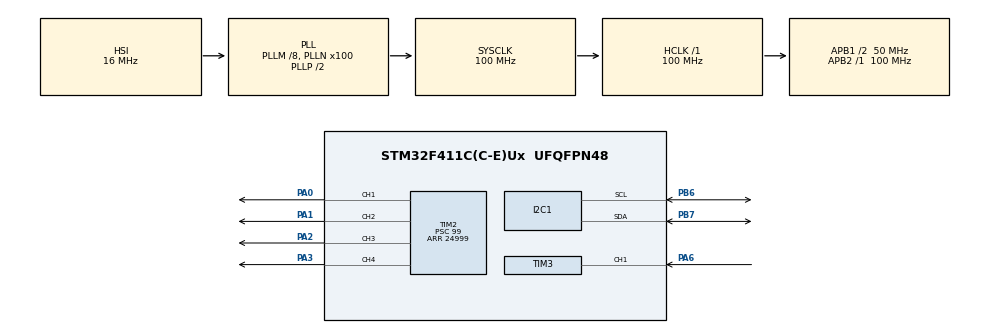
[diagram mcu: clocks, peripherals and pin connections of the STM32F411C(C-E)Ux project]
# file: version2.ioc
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Dma.I2C1_RX.0.Direction=DMA_PERIPH_TO_MEMORY
Dma.I2C1_RX.0.FIFOMode=DMA_FIFOMODE_DISABLE
Dma.I2C1_RX.0.Instance=DMA1_Stream0
Dma.I2C1_RX.0.MemDataAlignment=DMA_MDATAALIGN_BYTE
Dma.I2C1_RX.0.MemInc=DMA_MINC_ENABLE
Dma.I2C1_RX.0.Mode=DMA_NORMAL
Dma.I2C1_RX.0.PeriphDataAlignment=DMA_PDATAALIGN_BYTE
Dma.I2C1_RX.0.PeriphInc=DMA_PINC_DISABLE
Dma.I2C1_RX.0.Priority=DMA_PRIORITY_LOW
Dma.Request0=I2C1_RX
FREERTOS.Tasks01=pidTask,2,512,StartPIDTask,Default,NULL,Dynamic,NULL,NULL;rcTask,-3,128,StartRCTask,Default,NULL,Dynamic,NULL,NULL
FREERTOS.configENABLE_FPU=0
FREERTOS.configUSE_NEWLIB_REENTRANT=1
I2C1.I2C_Mode=I2C_Fast
Mcu.Family=STM32F4
Mcu.Name=STM32F411C(C-E)Ux
Mcu.Package=UFQFPN48
NVIC.DMA1_Stream0_IRQn=true\:5\:0\:false\:false\:true\:true\:false\:true\:true
NVIC.I2C1_ER_IRQn=true\:5\:0\:false\:false\:true\:true\:true\:true\:true
NVIC.I2C1_EV_IRQn=true\:5\:0\:false\:false\:true\:true\:true\:true\:true
NVIC.PriorityGroup=NVIC_PRIORITYGROUP_4
NVIC.TIM3_IRQn=true\:5\:0\:false\:false\:true\:true\:true\:true\:true
NVIC.TIM4_IRQn=true\:5\:0\:false\:false\:true\:true\:true\:true\:true
NVIC.TIM5_IRQn=true\:15\:0\:false\:false\:true\:false\:false\:true\:true
NVIC.TimeBase=TIM5_IRQn
NVIC.TimeBaseIP=TIM5
PA0-WKUP.Signal=S_TIM2_CH1_ETR
PA1.Signal=S_TIM2_CH2
PA13.Mode=Serial_Wire
PA13.Signal=SYS_JTMS-SWDIO
PA14.Mode=Serial_Wire
PA14.Signal=SYS_JTCK-SWCLK
PA2.Signal=S_TIM2_CH3
PA3.Signal=S_TIM2_CH4
PA6.Signal=S_TIM3_CH1
PB6.Mode=I2C
PB6.Signal=I2C1_SCL
PB7.Mode=I2C
PB7.Signal=I2C1_SDA
PH0\ -\ OSC_IN.Mode=HSE-External-Oscillator
PH0\ -\ OSC_IN.Signal=RCC_OSC_IN
PH1\ -\ OSC_OUT.Mode=HSE-External-Oscillator
PH1\ -\ OSC_OUT.Signal=RCC_OSC_OUT
ProjectManager.HeapSize=0x200
ProjectManager.StackSize=0x400
ProjectManager.TargetToolchain=STM32CubeIDE
RCC.48MHZClocksFreq_Value=50000000
RCC.AHBFreq_Value=100000000
RCC.APB1CLKDivider=RCC_HCLK_DIV2
RCC.APB1Freq_Value=50000000
RCC.APB1TimFreq_Value=100000000
RCC.APB2Freq_Value=100000000
RCC.APB2TimFreq_Value=100000000
RCC.CortexFreq_Value=100000000
RCC.HCLKFreq_Value=100000000
RCC.HSE_VALUE=25000000
RCC.HSI_VALUE=16000000
RCC.LSE_VALUE=32768
RCC.PLLM=8
RCC.PLLN=100
RCC.SYSCLKFreq_VALUE=100000000
RCC.SYSCLKSource=RCC_SYSCLKSOURCE_PLLCLK
RCC.VCOOutputFreq_Value=200000000
SH.S_TIM2_CH1_ETR.0=TIM2_CH1,PWM Generation1 CH1
SH.S_TIM2_CH2.0=TIM2_CH2,PWM Generation2 CH2
SH.S_TIM2_CH3.0=TIM2_CH3,PWM Generation3 CH3
SH.S_TIM2_CH4.0=TIM2_CH4,PWM Generation4 CH4
SH.S_TIM3_CH1.0=TIM3_CH1,Input_Capture1_from_TI1
TIM2.Channel-PWM\ Generation1\ CH1=TIM_CHANNEL_1
TIM2.Channel-PWM\ Generation2\ CH2=TIM_CHANNEL_2
TIM2.Channel-PWM\ Generation3\ CH3=TIM_CHANNEL_3
TIM2.Channel-PWM\ Generation4\ CH4=TIM_CHANNEL_4
TIM2.Period=24999
TIM2.Prescaler=99
TIM2.Pulse-PWM\ Generation1\ CH1=1000
TIM2.Pulse-PWM\ Generation2\ CH2=1000
TIM2.Pulse-PWM\ Generation3\ CH3=1000
TIM2.Pulse-PWM\ Generation4\ CH4=1000
TIM3.Channel-Input_Capture1_from_TI1=TIM_CHANNEL_1
TIM3.Prescaler=99
TIM4.Period=999
TIM4.Prescaler=99
VP_FREERTOS_VS_CMSIS_V1.Mode=CMSIS_V1
VP_SYS_VS_tim5.Mode=TIM5
VP_TIM4_VS_ClockSourceINT.Mode=Internal
board=custom

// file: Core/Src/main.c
/* USER CODE BEGIN Header */
/**
 ******************************************************************************
 * @file           : main.c
 * @brief          : Main program body
 ******************************************************************************
 * @attention
 *
 * Copyright (c) 2026 STMicroelectronics.
 * All rights reserved.
 *
 * This software is licensed under terms that can be found in the LICENSE file
 * in the root directory of this software component.
 * If no LICENSE file comes with this software, it is provided AS-IS.
 *
 ******************************************************************************
 */
/* USER CODE END Header */
#include "main.h"
#include "cmsis_os.h"

/* USER CODE BEGIN Includes */
#include "FreeRTOS.h"
#include "fc_motor.h"
#include "fc_mpu6050.h"
#include "fc_pid.h"
#include "fc_rc.h"
#include "task.h"

/* USER CODE END Includes */

I2C_HandleTypeDef hi2c1;
DMA_HandleTypeDef hdma_i2c1_rx;

TIM_HandleTypeDef htim2;
TIM_HandleTypeDef htim3;
TIM_HandleTypeDef htim4;

osThreadId pidTaskHandle;
osThreadId rcTaskHandle;
/* USER CODE BEGIN PV */
volatile uint32_t dbg_tim4_irq_cnt = 0;
volatile uint32_t dbg_pid_task_cnt = 0;
volatile uint32_t dbg_rc_task_cnt = 0;
/* USER CODE END PV */

void SystemClock_Config(void);
static void MX_GPIO_Init(void);
static void MX_DMA_Init(void);
static void MX_I2C1_Init(void);
static void MX_TIM2_Init(void);
static void MX_TIM3_Init(void);
static void MX_TIM4_Init(void);
void StartPIDTask(void const *argument);
void StartRCTask(void const *argument);

int main(void) {

  /* MCU Configuration--------------------------------------------------------*/

  /* Reset of all peripherals, Initializes the Flash interface and the Systick.
   */
  HAL_Init();

  /* Configure the system clock */
  SystemClock_Config();

  /* Initialize all configured peripherals */
  MX_GPIO_Init();
  MX_DMA_Init();
  MX_I2C1_Init();
  MX_TIM2_Init();
  MX_TIM3_Init();
  MX_TIM4_Init();
  /* USER CODE BEGIN 2 */

  FC_Motor_Init();
  FC_MPU6050_Init();
  FC_RC_Init();

  // THÊM DÒNG NÀY — start TIM3 để PPM interrupt hoạt động
  HAL_TIM_IC_Start_IT(&htim3, TIM_CHANNEL_1);

  // Chờ thêm 1 giây để PPM ổn định trước khi đo
  HAL_Delay(1000);

  // ==========================================
  // ESC CALIBRATION MODE
  // Để calib: Bật TX, đẩy ga lên MAX, sau đó cấp nguồn cho mạch (hoặc nạp code
  // xong). Đợi ESC kêu bíp bíp xác nhận ga MAX, sau đó kéo ga xuống MIN. ESC sẽ
  // kêu báo hiệu calib thành công.
  // ==========================================
  if (rc_channels[2] > 1900) {
    // Nháy LED nhanh báo hiệu vào chế độ Calib ESC
    for (int i = 0; i < 10; i++) {
      HAL_GPIO_TogglePin(GPIOC, GPIO_PIN_13);
      HAL_Delay(100);
    }

    // Gửi xung MAX 2000us cho tất cả ESC TRƯỚC KHI BẬT PWM
    __HAL_TIM_SET_COMPARE(&htim2, TIM_CHANNEL_1, FC_MOTOR_CALIB_MAX_US);
    __HAL_TIM_SET_COMPARE(&htim2, TIM_CHANNEL_2, FC_MOTOR_CALIB_MAX_US);
    __HAL_TIM_SET_COMPARE(&htim2, TIM_CHANNEL_3, FC_MOTOR_CALIB_MAX_US);
    __HAL_TIM_SET_COMPARE(&htim2, TIM_CHANNEL_4, FC_MOTOR_CALIB_MAX_US);

    // Bắt đầu xuất xung PWM. Lúc này ESC sẽ nhận được 2000us ngay lập tức!
    FC_Motor_StartPWM();

    // Chờ người dùng kéo ga xuống thấp nhất (< 1100)
    while (rc_channels[2] > 1100) {
      HAL_Delay(50);
      HAL_GPIO_TogglePin(GPIOC, GPIO_PIN_13);
    }

    // Gửi xung MIN 1000us cho tất cả ESC
    __HAL_TIM_SET_COMPARE(&htim2, TIM_CHANNEL_1, FC_MOTOR_MIN_US);
    __HAL_TIM_SET_COMPARE(&htim2, TIM_CHANNEL_2, FC_MOTOR_MIN_US);
    __HAL_TIM_SET_COMPARE(&htim2, TIM_CHANNEL_3, FC_MOTOR_MIN_US);
    __HAL_TIM_SET_COMPARE(&htim2, TIM_CHANNEL_4, FC_MOTOR_MIN_US);

    // Chờ 3 giây để ESC nhận xung MIN và lưu cài đặt
    HAL_GPIO_WritePin(GPIOC, GPIO_PIN_13, 0); // Bật LED sáng tĩnh
    HAL_Delay(3000);
  } else {
    // Nếu không vào chế độ Calib, gửi xung 1000us và chạy PWM bình thường
    __HAL_TIM_SET_COMPARE(&htim2, TIM_CHANNEL_1, FC_MOTOR_MIN_US);
    __HAL_TIM_SET_COMPARE(&htim2, TIM_CHANNEL_2, FC_MOTOR_MIN_US);
    __HAL_TIM_SET_COMPARE(&htim2, TIM_CHANNEL_3, FC_MOTOR_MIN_US);
    __HAL_TIM_SET_COMPARE(&htim2, TIM_CHANNEL_4, FC_MOTOR_MIN_US);
    FC_Motor_StartPWM();
  }
  // ==========================================

  // LED nhấp nháy báo hiệu đang calibrate
  // Tay cầm phải để GIỮA lúc này
  HAL_GPIO_WritePin(GPIOC, GPIO_PIN_13, 0);
  HAL_Delay(300);
  HAL_GPIO_WritePin(GPIOC, GPIO_PIN_13, 1);
  HAL_Delay(300);
  HAL_GPIO_WritePin(GPIOC, GPIO_PIN_13, 0);
  HAL_Delay(300);
  HAL_GPIO_WritePin(GPIOC, GPIO_PIN_13, 1);
  HAL_Delay(300);
  HAL_GPIO_WritePin(GPIOC, GPIO_PIN_13, 0);
  HAL_Delay(300);

  FC_RC_CalibrateCenter(); // 1 giây đo center

  HAL_GPIO_WritePin(GPIOC, GPIO_PIN_13, 1); // LED tắt = xong

  FC_PID_Init();

  /* USER CODE END 2 */

  /* Create the thread(s) */
  /* definition and creation of pidTask */
  osThreadDef(pidTask, StartPIDTask, osPriorityHigh, 0, 512);
  pidTaskHandle = osThreadCreate(osThread(pidTask), NULL);

  /* definition and creation of rcTask */
  osThreadDef(rcTask, StartRCTask, osPriorityIdle, 0, 128);
  rcTaskHandle = osThreadCreate(osThread(rcTask), NULL);

  xTraceInitialize();
  vTraceEnable(TRC_START);

  /* Start scheduler */
  osKernelStart();

  /* We should never get here as control is now taken by the scheduler */

  /* Infinite loop */
  while (1) {

  }
}

void SystemClock_Config(void) {
  RCC_OscInitTypeDef RCC_OscInitStruct = {0};
  RCC_ClkInitTypeDef RCC_ClkInitStruct = {0};

  /** Configure the main internal regulator output voltage
   */
  __HAL_RCC_PWR_CLK_ENABLE();
  __HAL_PWR_VOLTAGESCALING_CONFIG(PWR_REGULATOR_VOLTAGE_SCALE1);

  /** Initializes the RCC Oscillators according to the specified parameters
   * in the RCC_OscInitTypeDef structure.
   */
  RCC_OscInitStruct.OscillatorType = RCC_OSCILLATORTYPE_HSI;
  RCC_OscInitStruct.HSIState = RCC_HSI_ON;
  RCC_OscInitStruct.HSICalibrationValue = RCC_HSICALIBRATION_DEFAULT;
  RCC_OscInitStruct.PLL.PLLState = RCC_PLL_ON;
  RCC_OscInitStruct.PLL.PLLSource = RCC_PLLSOURCE_HSI;
  RCC_OscInitStruct.PLL.PLLM = 8;
  RCC_OscInitStruct.PLL.PLLN = 100;
  RCC_OscInitStruct.PLL.PLLP = RCC_PLLP_DIV2;
  RCC_OscInitStruct.PLL.PLLQ = 4;
  if (HAL_RCC_OscConfig(&RCC_OscInitStruct) != HAL_OK) {
    Error_Handler();
  }

  /** Initializes the CPU, AHB and APB buses clocks
   */
  RCC_ClkInitStruct.ClockType = RCC_CLOCKTYPE_HCLK | RCC_CLOCKTYPE_SYSCLK |
                                RCC_CLOCKTYPE_PCLK1 | RCC_CLOCKTYPE_PCLK2;
  RCC_ClkInitStruct.SYSCLKSource = RCC_SYSCLKSOURCE_PLLCLK;
  RCC_ClkInitStruct.AHBCLKDivider = RCC_SYSCLK_DIV1;
  RCC_ClkInitStruct.APB1CLKDivider = RCC_HCLK_DIV2;
  RCC_ClkInitStruct.APB2CLKDivider = RCC_HCLK_DIV1;

  if (HAL_RCC_ClockConfig(&RCC_ClkInitStruct, FLASH_LATENCY_3) != HAL_OK) {
    Error_Handler();
  }
}

static void MX_I2C1_Init(void) {

  hi2c1.Instance = I2C1;
  hi2c1.Init.ClockSpeed = 400000;
  hi2c1.Init.DutyCycle = I2C_DUTYCYCLE_2;
  hi2c1.Init.OwnAddress1 = 0;
  hi2c1.Init.AddressingMode = I2C_ADDRESSINGMODE_7BIT;
  hi2c1.Init.DualAddressMode = I2C_DUALADDRESS_DISABLE;
  hi2c1.Init.OwnAddress2 = 0;
  hi2c1.Init.GeneralCallMode = I2C_GENERALCALL_DISABLE;
  hi2c1.Init.NoStretchMode = I2C_NOSTRETCH_DISABLE;
  if (HAL_I2C_Init(&hi2c1) != HAL_OK) {
    Error_Handler();
  }
}

static void MX_TIM2_Init(void) {

  TIM_MasterConfigTypeDef sMasterConfig = {0};
  TIM_OC_InitTypeDef sConfigOC = {0};

  htim2.Instance = TIM2;
  htim2.Init.Prescaler = 99;
  htim2.Init.CounterMode = TIM_COUNTERMODE_UP;
  htim2.Init.Period = 2499; // 2500us -> 400Hz cho ESC drone
  htim2.Init.ClockDivision = TIM_CLOCKDIVISION_DIV1;
  htim2.Init.AutoReloadPreload = TIM_AUTORELOAD_PRELOAD_DISABLE;
  if (HAL_TIM_PWM_Init(&htim2) != HAL_OK) {
    Error_Handler();
  }
  sMasterConfig.MasterOutputTrigger = TIM_TRGO_RESET;
  sMasterConfig.MasterSlaveMode = TIM_MASTERSLAVEMODE_DISABLE;
  if (HAL_TIMEx_MasterConfigSynchronization(&htim2, &sMasterConfig) != HAL_OK) {
    Error_Handler();
  }
  sConfigOC.OCMode = TIM_OCMODE_PWM1;
  sConfigOC.Pulse = FC_MOTOR_MIN_US;
  sConfigOC.OCPolarity = TIM_OCPOLARITY_HIGH;
  sConfigOC.OCFastMode = TIM_OCFAST_DISABLE;
  if (HAL_TIM_PWM_ConfigChannel(&htim2, &sConfigOC, TIM_CHANNEL_1) != HAL_OK) {
    Error_Handler();
  }
  if (HAL_TIM_PWM_ConfigChannel(&htim2, &sConfigOC, TIM_CHANNEL_2) != HAL_OK) {
    Error_Handler();
  }
  if (HAL_TIM_PWM_ConfigChannel(&htim2, &sConfigOC, TIM_CHANNEL_3) != HAL_OK) {
    Error_Handler();
  }
  if (HAL_TIM_PWM_ConfigChannel(&htim2, &sConfigOC, TIM_CHANNEL_4) != HAL_OK) {
    Error_Handler();
  }
  HAL_TIM_MspPostInit(&htim2);
}

static void MX_TIM3_Init(void) {

  TIM_MasterConfigTypeDef sMasterConfig = {0};
  TIM_IC_InitTypeDef sConfigIC = {0};

  htim3.Instance = TIM3;
  htim3.Init.Prescaler = 99;
  htim3.Init.CounterMode = TIM_COUNTERMODE_UP;
  htim3.Init.Period = 65535;
  htim3.Init.ClockDivision = TIM_CLOCKDIVISION_DIV1;
  htim3.Init.AutoReloadPreload = TIM_AUTORELOAD_PRELOAD_DISABLE;
  if (HAL_TIM_IC_Init(&htim3) != HAL_OK) {
    Error_Handler();
  }
  sMasterConfig.MasterOutputTrigger = TIM_TRGO_RESET;
  sMasterConfig.MasterSlaveMode = TIM_MASTERSLAVEMODE_DISABLE;
  if (HAL_TIMEx_MasterConfigSynchronization(&htim3, &sMasterConfig) != HAL_OK) {
    Error_Handler();
  }
  sConfigIC.ICPolarity = TIM_INPUTCHANNELPOLARITY_RISING;
  sConfigIC.ICSelection = TIM_ICSELECTION_DIRECTTI;
  sConfigIC.ICPrescaler = TIM_ICPSC_DIV1;
  sConfigIC.ICFilter = 0;
  if (HAL_TIM_IC_ConfigChannel(&htim3, &sConfigIC, TIM_CHANNEL_1) != HAL_OK) {
    Error_Handler();
  }
}

static void MX_TIM4_Init(void) {

  TIM_ClockConfigTypeDef sClockSourceConfig = {0};
  TIM_MasterConfigTypeDef sMasterConfig = {0};

  htim4.Instance = TIM4;
  htim4.Init.Prescaler = 99;
  htim4.Init.CounterMode = TIM_COUNTERMODE_UP;
  htim4.Init.Period = 999;
  htim4.Init.ClockDivision = TIM_CLOCKDIVISION_DIV1;
  htim4.Init.AutoReloadPreload = TIM_AUTORELOAD_PRELOAD_DISABLE;
  if (HAL_TIM_Base_Init(&htim4) != HAL_OK) {
    Error_Handler();
  }
  sClockSourceConfig.ClockSource = TIM_CLOCKSOURCE_INTERNAL;
  if (HAL_TIM_ConfigClockSource(&htim4, &sClockSourceConfig) != HAL_OK) {
    Error_Handler();
  }
  sMasterConfig.MasterOutputTrigger = TIM_TRGO_RESET;
  sMasterConfig.MasterSlaveMode = TIM_MASTERSLAVEMODE_DISABLE;
  if (HAL_TIMEx_MasterConfigSynchronization(&htim4, &sMasterConfig) != HAL_OK) {
    Error_Handler();
  }
}

static void MX_DMA_Init(void) {

  /* DMA controller clock enable */
  __HAL_RCC_DMA1_CLK_ENABLE();

  /* DMA interrupt init */
  /* DMA1_Stream0_IRQn interrupt configuration */
  HAL_NVIC_SetPriority(DMA1_Stream0_IRQn, 5, 0);
  HAL_NVIC_EnableIRQ(DMA1_Stream0_IRQn);
}

static void MX_GPIO_Init(void) {

  /* GPIO Ports Clock Enable */
  __HAL_RCC_GPIOH_CLK_ENABLE();
  __HAL_RCC_GPIOA_CLK_ENABLE();
  __HAL_RCC_GPIOB_CLK_ENABLE();

}

void StartPIDTask(void const *argument) {
  /* USER CODE BEGIN 5 */
  // 1. Khởi tạo và Calib MPU khi RTOS đã chạy (osDelay hoạt động an toàn)
  FC_MPU6050_Init();
  osDelay(200);           // Chờ cảm biến ổn định
  FC_MPU6050_Calibrate(); // Tính sai số tĩnh (Gyro Offset)
  // 2. CỰC KỲ QUAN TRỌNG: Calib xong xuôi MỚI bật Timer 4
  // Timer 4 sẽ tự động gõ nhịp 1ms và tự động gọi DMA!
  HAL_TIM_Base_Start_IT(&htim4);
  /* Infinite loop */
  for (;;) {
    ulTaskNotifyTake(pdTRUE, portMAX_DELAY);
    dbg_pid_task_cnt++;
    FC_PID_Run_1ms();
  }
  /* USER CODE END 5 */
}

void StartRCTask(void const *argument) {
  /* USER CODE BEGIN StartRCTask */
  /* Infinite loop */
  for (;;) {
    dbg_rc_task_cnt++;
    // TODO: Kiểm tra mảng kênh PPM, thực hiện logic Arm/Disarm
    FC_RC_Process();

    osDelay(20); // Chạy RC Task ở tần số 50Hz là đủ, vì tín hiệu tay cầm cập
                 // nhật chậm
  }
  /* USER CODE END StartRCTask */
}

void HAL_TIM_PeriodElapsedCallback(TIM_HandleTypeDef *htim) {
  if (htim->Instance == TIM5) {
    HAL_IncTick();
  }
  /* USER CODE BEGIN Callback 1 */
  // Ngắt 1ms của TIM4 dành cho PID
  else if (htim->Instance == TIM4) {
    dbg_tim4_irq_cnt++; // Biến đếm debug của bạn
    FC_MPU6050_Read_DMA();
  }
  /* USER CODE END Callback 1 */
}

void Error_Handler(void) {
  __disable_irq();
  while (1) {
  }
}
#ifdef USE_FULL_ASSERT
/**
 * @brief  Reports the name of the source file and the source line number
 *         where the assert_param error has occurred.
 * @param  file: pointer to the source file name
 * @param  line: assert_param error line source number
 * @retval None
 */
void assert_failed(uint8_t *file, uint32_t line) {
  /* USER CODE BEGIN 6 */
  /* User can add his own implementation to report the file name and line
     number, ex: printf("Wrong parameters value: file %s on line %d\r\n", file,
     line) */
  /* USER CODE END 6 */
}
#endif /* USE_FULL_ASSERT */
